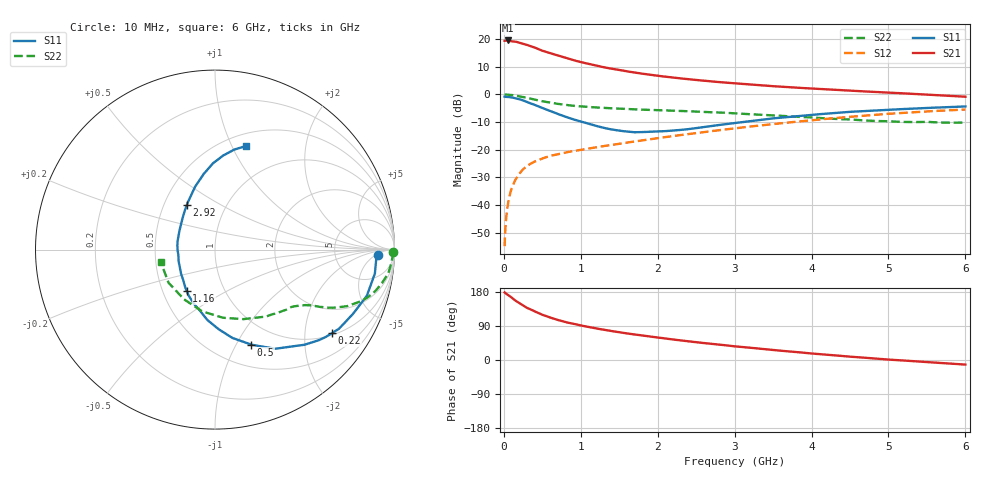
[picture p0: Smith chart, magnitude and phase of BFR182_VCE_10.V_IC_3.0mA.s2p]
! Infineon Technologies  Discrete & RF Semiconductors
! BFR182
! VCE =  10. V,  IC =  3.0 mA
! Common Emitter S-Parameters:  Nov 2015
# GHz  S  MA  R  50
!  f  S11  S21  S12  S22
! GHz  MAG  ANG  MAG  ANG  MAG  ANG  MAG  ANG
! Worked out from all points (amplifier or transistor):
!   210 points, 10 MHz to 6 GHz, reference 50 ohm
!   highest |S21| = 19.5 dB at 50 MHz (marker M1)
!   |S21| within 3 dB of that: start of sweep to 438 MHz
!   unconditionally stable (mu >= 1): 1.343 GHz to 3.132 GHz
!   at 185 MHz: K = 0.23, MSG = 24.1 dB, |S12| = -29.3 dB
!   at 1.52 GHz: K = 1.03, MAG = 12.1 dB, |S12| = -17.8 dB
!   at 6 GHz: K = 0.88, MSG = 2.3 dB, |S12| = -5.5 dB
!   S11 on the Smith chart (normalised r, x): 10 MHz: 19, -6; 220 MHz: 1.06, -2.77; 500 MHz: 0.74, -1.15; 1.16 GHz: 0.66, -0.33; 2.92 GHz: 0.65, +0.35; 6 GHz: 0.63, +1.14
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0.01  0.9081 -1.8  9.298 178.3  0.0018 87.6  0.9931 -0.8
0.025  0.8995 -4.2  9.35 175.8  0.0048 88.5  0.9902 -2.1
0.05  0.9007 -8.5  9.408 172.2  0.0097 84.3  0.9866 -4.0
0.1  0.8844 -16.9  9.095 165.1  0.0197 80.6  0.975 -7.7
0.15  0.8481 -25.0  8.993 156.7  0.0284 75.0  0.9486 -11.4
0.22  0.8016 -35.4  8.409 147.9  0.0395 70.5  0.9108 -15.6
0.3  0.7282 -46.7  7.83 137.7  0.0507 65.8  0.8622 -19.5
0.4  0.646 -58.8  7.009 128.2  0.0609 61.6  0.8004 -23.2
0.5  0.5666 -69.1  6.14 119.3  0.0691 58.3  0.7502 -25.5
0.6  0.5013 -78.9  5.559 112.1  0.0769 56.3  0.7086 -27.2
0.7  0.4433 -87.5  5.05 105.7  0.0826 55.1  0.6725 -28.4
0.86  0.369 -100.3  4.315 97.3  0.0919 54.5  0.63 -29.7
1.02  0.3171 -113.0  3.768 90.3  0.1005 54.6  0.6022 -31.0
1.16  0.2786 -124.5  3.404 84.8  0.1079 54.9  0.5834 -32.1
1.6  0.2129 -162.0  2.601 70.1  0.1341 56.4  0.5424 -35.7
2.02  0.2138 166.7  2.148 58.7  0.1626 57.2  0.5178 -40.5
2.4  0.2349 144.1  1.873 49.2  0.1911 57.1  0.4953 -45.8
2.92  0.2928 122.6  1.613 38.0  0.2355 55.3  0.4597 -54.7
3.1  0.3141 117.3  1.543 34.3  0.2521 54.3  0.4448 -58.4
4.1  0.4367 96.9  1.249 15.6  0.3502 46.3  0.3732 -86.7
5.1  0.5346 83.7  1.058 -0.1  0.4535 34.6  0.3207 -126.4
6  0.6031 73.2  0.905 -12.1  0.5309 21.7  0.3096 -166.6
